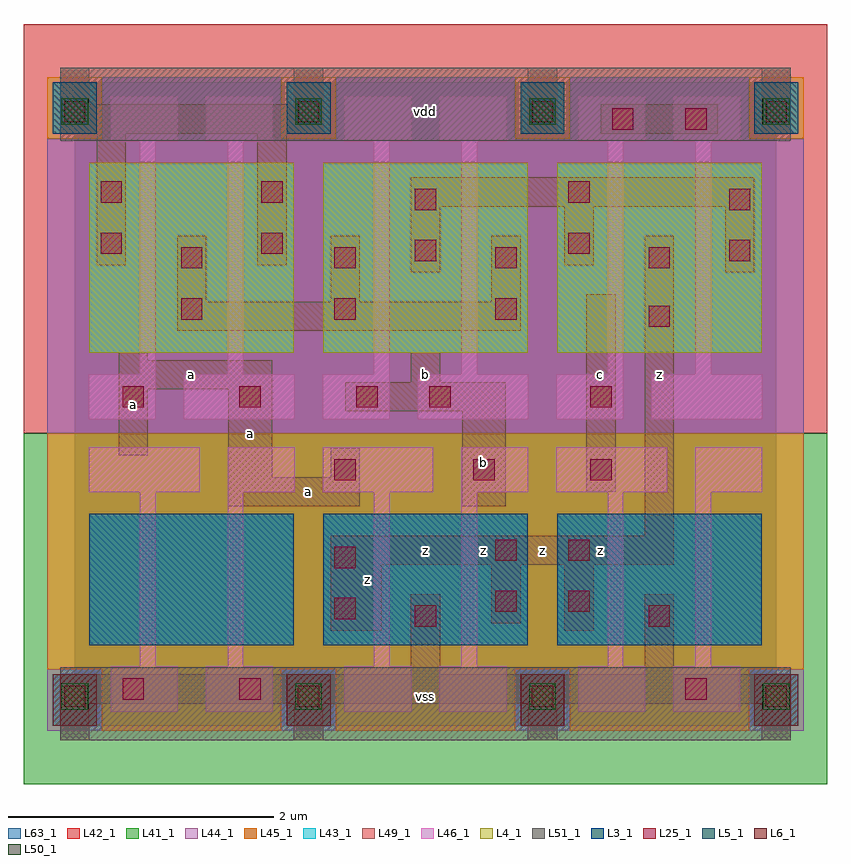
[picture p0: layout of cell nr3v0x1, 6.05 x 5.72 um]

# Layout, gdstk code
import gdstk
lib = gdstk.Library(unit=1e-6, precision=1e-09)
def R(c, l, rs):  # rectangles x0, y0, x1, y1
    for r in rs: c.add(gdstk.rectangle(r[:2], r[2:], *l))
def A(c, l, x, y, w, h, nx, ny, dx, dy):  # array of equal rectangles
    R(c, l, [(x+i*dx, y+j*dy, x+i*dx+w, y+j*dy+h) for i in range(nx) for j in range(ny)])
L3_1 = (3, 1)
L4_1 = (4, 1)
L5_1 = (5, 1)
L6_1 = (6, 1)
L25_1 = (25, 1)
L41_1 = (41, 1)
L42_1 = (42, 1)
L43_1 = (43, 1)
L44_1 = (44, 1)
L45_1 = (45, 1)
L46_1 = (46, 1)
L49_1 = (49, 1)
L50_1 = (50, 1)
L51_1 = (51, 1)
L63_1 = (63, 1)

nr3v0x1 = lib.new_cell('nr3v0x1')
A(nr3v0x1, L3_1, 0.11, 0.605, 1.54, 0.99, 3, 1, 1.76, 0)
A(nr3v0x1, L4_1, 0.11, 2.805, 1.54, 1.43, 3, 1, 1.76, 0)
A(nr3v0x1, L5_1, -0.165, 4.455, 0.33, 0.385, 4, 1, 1.76, 0)
A(nr3v0x1, L6_1, -0.165, 0, 0.33, 0.385, 4, 1, 1.76, 0)
A(nr3v0x1, L25_1, -0.08, 0.14, 0.16, 0.16, 4, 2, 1.76, 4.4)
A(nr3v0x1, L25_1, 0.36, 2.395, 0.16, 0.16, 3, 1, 0.88, 0)
R(nr3v0x1, L25_1, [(0.36,0.195,0.52,0.355), (1.24,0.195,1.4,0.355), (4.595,0.195,4.755,0.355), (2.56,0.745,2.72,0.905), (4.32,0.745,4.48,0.905), (1.955,0.8,2.115,0.96), (3.165,0.855,3.325,1.015), (3.715,0.855,3.875,1.015), (1.955,1.185,2.115,1.345), (3.165,1.24,3.325,1.4), (3.715,1.24,3.875,1.4), (1.955,1.845,2.115,2.005), (3,1.845,3.16,2.005), (3.88,1.845,4.04,2.005), (2.67,2.395,2.83,2.555), (3.88,2.395,4.04,2.555), (4.32,3,4.48,3.16), (0.8,3.055,0.96,3.215), (1.955,3.055,2.115,3.215), (3.165,3.055,3.325,3.215), (0.8,3.44,0.96,3.6), (1.955,3.44,2.115,3.6), (3.165,3.44,3.325,3.6), (4.32,3.44,4.48,3.6), (2.56,3.495,2.72,3.655), (4.925,3.495,5.085,3.655), (0.195,3.55,0.355,3.71), (1.405,3.55,1.565,3.71), (3.715,3.55,3.875,3.71), (2.56,3.88,2.72,4.04), (4.925,3.88,5.085,4.04), (0.195,3.935,0.355,4.095), (1.405,3.935,1.565,4.095), (3.715,3.935,3.875,4.095), (4.045,4.485,4.205,4.645), (4.595,4.485,4.755,4.645)])
R(nr3v0x1, L41_1, [(-0.385,-0.44,5.665,2.2)])
R(nr3v0x1, L42_1, [(-0.385,2.2,5.665,5.28)])
A(nr3v0x1, L43_1, -0.165, 0, 0.33, 0.385, 4, 2, 1.76, 4.455)
A(nr3v0x1, L43_1, 0.11, 0.605, 1.54, 0.99, 3, 1, 1.76, 0)
A(nr3v0x1, L43_1, 0.11, 2.805, 1.54, 1.43, 3, 1, 1.76, 0)
A(nr3v0x1, L44_1, -0.205, -0.04, 0.41, 0.465, 4, 1, 1.76, 0)
A(nr3v0x1, L44_1, 0.205, 4.415, 1.35, 0.465, 3, 1, 1.76, 0)
R(nr3v0x1, L44_1, [(-0.205,2.2,5.485,4.415)])
A(nr3v0x1, L45_1, 0.205, -0.04, 1.35, 0.465, 3, 1, 1.76, 0)
A(nr3v0x1, L45_1, -0.205, 4.415, 0.41, 0.465, 4, 1, 1.76, 0)
R(nr3v0x1, L45_1, [(-0.205,0.425,5.485,2.2)])
A(nr3v0x1, L46_1, 0.105, 1.755, 0.835, 0.34, 3, 1, 1.76, 0)
A(nr3v0x1, L46_1, 1.15, 1.755, 0.505, 0.34, 3, 1, 1.76, 0)
A(nr3v0x1, L46_1, 0.105, 2.305, 0.505, 0.34, 3, 1, 1.76, 0)
A(nr3v0x1, L46_1, 0.82, 2.305, 0.835, 0.34, 3, 1, 1.76, 0)
R(nr3v0x1, L46_1, [(0.27,0.105,0.775,0.445), (0.985,0.105,1.49,0.445), (2.03,0.105,2.535,0.445), (2.745,0.105,3.25,0.445), (3.79,0.105,4.295,0.445), (4.505,0.105,5.01,0.445), (0.49,0.445,0.61,1.755), (1.15,0.445,1.27,1.755), (2.25,0.445,2.37,1.755), (2.91,0.445,3.03,1.755), (4.01,0.445,4.13,1.755), (4.67,0.445,4.79,1.755), (0.49,2.645,0.61,4.395), (1.15,2.645,1.27,4.395), (2.25,2.645,2.37,4.395), (2.91,2.645,3.03,4.395), (4.01,2.645,4.13,4.395), (4.67,2.645,4.79,4.395), (0.27,4.395,0.775,4.735), (0.985,4.395,1.49,4.735), (2.03,4.395,2.535,4.735), (2.745,4.395,3.25,4.735), (3.79,4.395,4.295,4.735), (4.505,4.395,5.01,4.735)])
A(nr3v0x1, L49_1, -0.11, -0.11, 0.22, 0.275, 4, 1, 1.76, 0)
R(nr3v0x1, L49_1, [(-0.11,0.165,5.39,0.385), (2.53,0.385,2.75,0.99), (4.29,0.385,4.51,0.99), (1.925,0.715,2.31,1.21), (3.685,0.715,3.905,1.21), (3.135,0.77,3.355,1.21), (1.925,1.21,4.51,1.43), (4.29,1.43,4.51,3.685), (1.155,1.65,2.145,1.87), (2.915,1.65,3.245,2.365), (3.85,1.76,4.07,3.245), (1.155,1.87,1.485,2.53), (1.925,1.87,2.145,2.09), (0.33,2.035,0.55,2.53), (2.035,2.365,3.245,2.585), (0.33,2.53,1.485,2.75), (2.53,2.585,2.75,2.805), (0.33,2.75,0.55,2.805), (0.77,2.97,3.355,3.19), (0.77,3.19,0.99,3.685), (1.925,3.19,2.145,3.685), (3.135,3.19,3.355,3.685), (2.53,3.41,2.75,3.905), (4.895,3.41,5.115,3.905), (0.165,3.465,0.385,4.455), (1.375,3.465,1.595,4.455), (3.685,3.465,3.905,3.905), (2.53,3.905,5.115,4.125), (-0.11,4.455,1.87,4.675), (3.41,4.455,3.63,4.95), (3.96,4.455,4.84,4.675), (5.17,4.455,5.39,4.95), (-0.11,4.675,0.11,4.95), (1.65,4.675,1.87,4.95)])
A(nr3v0x1, L50_1, -0.1, 0.12, 0.2, 0.2, 4, 2, 1.76, 4.4)
R(nr3v0x1, L51_1, [(-0.11,-0.11,5.39,0.44), (-0.11,4.4,5.39,4.95)])
R(nr3v0x1, L63_1, [(0,0,5.28,4.84)])
nr3v0x1.add(gdstk.Label('a', (0.44,2.42), layer=49, texttype=1))
nr3v0x1.add(gdstk.Label('a', (1.76,1.76), layer=49, texttype=1))
nr3v0x1.add(gdstk.Label('a', (0.88,2.64), layer=49, texttype=1))
nr3v0x1.add(gdstk.Label('a', (1.32,2.2), layer=49, texttype=1))
nr3v0x1.add(gdstk.Label('z', (2.2,1.1), layer=49, texttype=1))
nr3v0x1.add(gdstk.Label('z', (3.08,1.32), layer=49, texttype=1))
nr3v0x1.add(gdstk.Label('z', (2.64,1.32), layer=49, texttype=1))
nr3v0x1.add(gdstk.Label('b', (3.08,1.98), layer=49, texttype=1))
nr3v0x1.add(gdstk.Label('b', (2.64,2.64), layer=49, texttype=1))
nr3v0x1.add(gdstk.Label('z', (3.96,1.32), layer=49, texttype=1))
nr3v0x1.add(gdstk.Label('z', (3.52,1.32), layer=49, texttype=1))
nr3v0x1.add(gdstk.Label('c', (3.96,2.64), layer=49, texttype=1))
nr3v0x1.add(gdstk.Label('z', (4.4,2.64), layer=49, texttype=1))
nr3v0x1.add(gdstk.Label('vss', (2.64,0.22), layer=51, texttype=1))
nr3v0x1.add(gdstk.Label('vdd', (2.64,4.62), layer=51, texttype=1))

lib.write_gds('nr3v0x1.gds')
